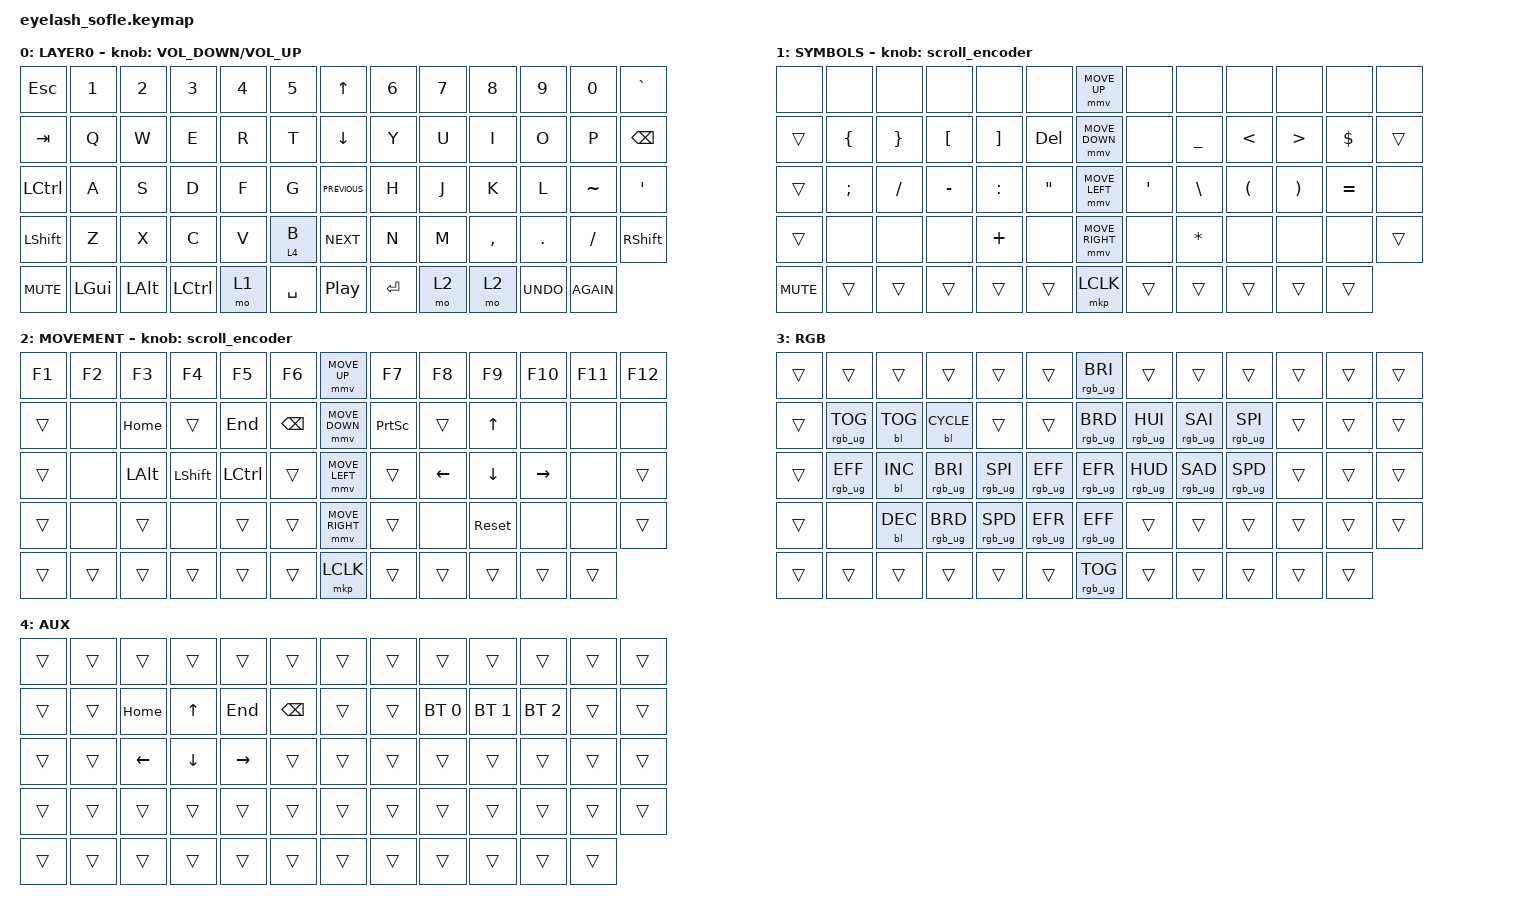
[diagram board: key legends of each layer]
#define ZMK_POINTING_DEFAULT_MOVE_VAL 1200  // 600
#define ZMK_POINTING_DEFAULT_SCRL_VAL 25   // 10

#include <input/processors.dtsi>
#include <zephyr/dt-bindings/input/input-event-codes.h>
#include <behaviors.dtsi>
#include <dt-bindings/zmk/backlight.h>
#include <dt-bindings/zmk/bt.h>
#include <dt-bindings/zmk/keys.h>
#include <dt-bindings/zmk/pointing.h>
#include <dt-bindings/zmk/rgb.h>

&mmv_input_listener { input-processors = <&zip_xy_scaler 2 1>; };

&msc_input_listener { input-processors = <&zip_scroll_scaler 2 1>; };

&msc {
    acceleration-exponent = <1>;      // 0
    time-to-max-speed-ms = <100>;       // 300
    delay-ms = <0>;                   // 0
};

&mmv {
    time-to-max-speed-ms = <500>;
    acceleration-exponent = <1>;
    trigger-period-ms = <16>;
};

/ {
    scroll_encoder: scroll_encoder {
        compatible = "zmk,behavior-sensor-rotate";
        #sensor-binding-cells = <0>;
        bindings = <&msc SCRL_DOWN>, <&msc SCRL_UP>;

        tap-ms = <100>;
    };

    behaviors {
    };

    combos {
        compatible = "zmk,combos";

        rgb {
            bindings = <&mo 3>;
            key-positions = <57 59>;
        };
    };

    keymap {
        compatible = "zmk,keymap";

        BASE {
            bindings = <
&kp ESC     &kp N1        &kp N2        &kp N3     &kp N4  &kp N5       &kp UP_ARROW      &kp N6      &kp N7  &kp N8     &kp N9      &kp N0       &kp GRAVE
&kp TAB     &kp Q         &kp W         &kp E      &kp R   &kp T        &kp DOWN_ARROW    &kp Y       &kp U   &kp I      &kp O       &kp P        &kp BACKSPACE
&kp LCTRL   &kp A         &kp S         &kp D      &kp F   &kp G        &kp C_PREVIOUS    &kp H       &kp J   &kp K      &kp L       &kp TILDE    &kp APOS
&kp LSHFT   &kp Z         &kp X         &kp C      &kp V   &lt 4 B      &kp C_NEXT        &kp N       &kp M   &kp COMMA  &kp DOT     &kp FSLH     &kp RIGHT_SHIFT
&kp C_MUTE  &kp LEFT_GUI  &kp LEFT_ALT  &kp LCTRL  &mo 1   &kp SPACE    &kp C_PLAY_PAUSE  &kp RETURN  &mo 2   &mo 2      &kp K_UNDO  &kp K_AGAIN
            >;

            sensor-bindings = <&inc_dec_kp C_VOLUME_DOWN C_VOLUME_UP>;
            display-name = "LAYER0";
        };

        layer_1 {
            bindings = <
&none       &none           &none            &none             &none              &none                &mmv MOVE_UP     &none             &none          &none                 &none                  &none       &none
&trans      &kp LEFT_BRACE  &kp RIGHT_BRACE  &kp LEFT_BRACKET  &kp RIGHT_BRACKET  &kp DELETE           &mmv MOVE_DOWN   &none             &kp UNDER      &kp LESS_THAN         &kp GREATER_THAN       &kp DOLLAR  &trans
&trans      &kp SEMICOLON   &kp SLASH        &kp MINUS         &kp COLON          &kp DOUBLE_QUOTES    &mmv MOVE_LEFT   &kp SINGLE_QUOTE  &kp BACKSLASH  &kp LEFT_PARENTHESIS  &kp RIGHT_PARENTHESIS  &kp EQUAL   &none
&trans      &none           &none            &none             &kp PLUS           &none                &mmv MOVE_RIGHT  &none             &kp ASTRK      &none                 &none                  &none       &trans
&kp C_MUTE  &trans          &trans           &trans            &trans             &trans               &mkp LCLK        &trans            &trans         &trans                &trans                 &trans
            >;

            display-name = "SYMBOLS";
            sensor-bindings = <&scroll_encoder>;
        };

        MOVEMENT {
            bindings = <
&kp F1  &kp F2  &kp F3        &kp F4          &kp F5     &kp F6           &mmv MOVE_UP     &kp F7           &kp F8    &kp F9        &kp F10    &kp F11  &kp F12
&trans  &none   &kp HOME      &trans          &kp END    &kp BACKSPACE    &mmv MOVE_DOWN   &kp PRINTSCREEN  &trans    &kp UP_ARROW  &none      &none    &none
&trans  &none   &kp LEFT_ALT  &kp LEFT_SHIFT  &kp LCTRL  &trans           &mmv MOVE_LEFT   &trans           &kp LEFT  &kp DOWN      &kp RIGHT  &none    &trans
&trans  &none   &trans        &none           &trans     &trans           &mmv MOVE_RIGHT  &trans           &none     &sys_reset    &none      &none    &trans
&trans  &trans  &trans        &trans          &trans     &trans           &mkp LCLK        &trans           &trans    &trans        &trans     &trans
            >;

            sensor-bindings = <&scroll_encoder>;
        };

        RGB {
            bindings = <
&trans  &trans           &trans      &trans           &trans           &trans             &rgb_ug RGB_BRI  &trans           &trans           &trans           &trans  &trans  &trans
&trans  &rgb_ug RGB_TOG  &bl BL_TOG  &bl BL_CYCLE     &trans           &trans             &rgb_ug RGB_BRD  &rgb_ug RGB_HUI  &rgb_ug RGB_SAI  &rgb_ug RGB_SPI  &trans  &trans  &trans
&trans  &rgb_ug RGB_EFF  &bl BL_INC  &rgb_ug RGB_BRI  &rgb_ug RGB_SPI  &rgb_ug RGB_EFF    &rgb_ug RGB_EFR  &rgb_ug RGB_HUD  &rgb_ug RGB_SAD  &rgb_ug RGB_SPD  &trans  &trans  &trans
&trans  &none            &bl BL_DEC  &rgb_ug RGB_BRD  &rgb_ug RGB_SPD  &rgb_ug RGB_EFR    &rgb_ug RGB_EFF  &trans           &trans           &trans           &trans  &trans  &trans
&trans  &trans           &trans      &trans           &trans           &trans             &rgb_ug RGB_TOG  &trans           &trans           &trans           &trans  &trans
            >;
        };

        AUX {
            bindings = <
&trans  &trans  &trans    &trans        &trans     &trans           &trans  &trans  &trans        &trans        &trans        &trans  &trans
&trans  &trans  &kp HOME  &kp UP_ARROW  &kp END    &kp BACKSPACE    &trans  &trans  &bt BT_SEL 0  &bt BT_SEL 1  &bt BT_SEL 2  &trans  &trans
&trans  &trans  &kp LEFT  &kp DOWN      &kp RIGHT  &trans           &trans  &trans  &trans        &trans        &trans        &trans  &trans
&trans  &trans  &trans    &trans        &trans     &trans           &trans  &trans  &trans        &trans        &trans        &trans  &trans
&trans  &trans  &trans    &trans        &trans     &trans           &trans  &trans  &trans        &trans        &trans        &trans
            >;
        };
    };
};
